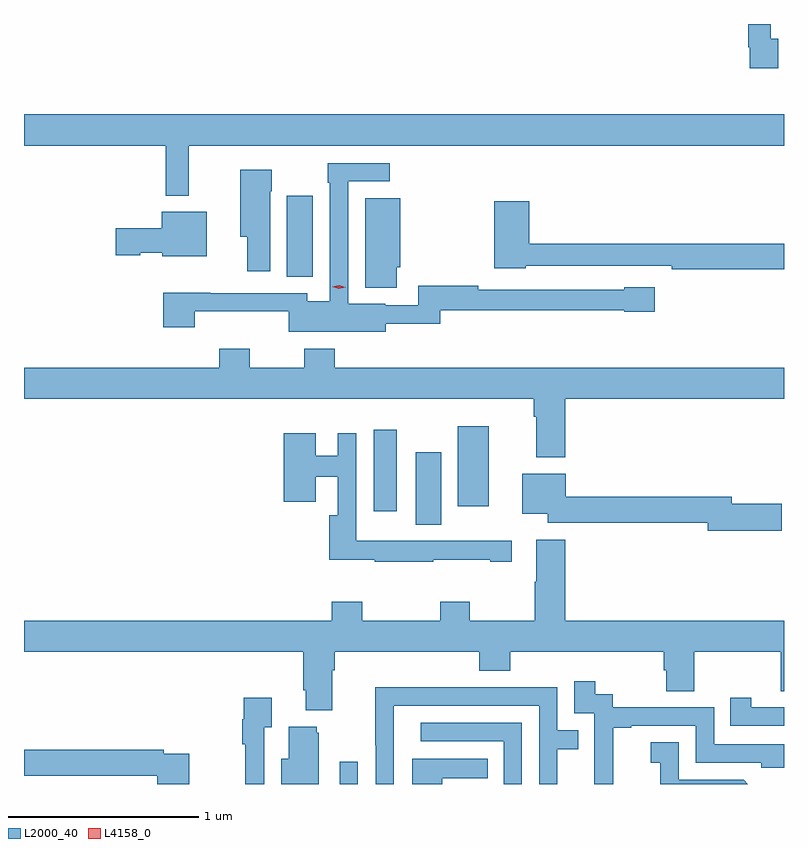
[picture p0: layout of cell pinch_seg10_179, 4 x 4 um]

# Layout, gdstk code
import gdstk
lib = gdstk.Library(unit=1e-6, precision=1e-09)
def R(c, l, rs):  # rectangles x0, y0, x1, y1
    for r in rs: c.add(gdstk.rectangle(r[:2], r[2:], *l))
def P(c, l, *ps):  # polygons
    for p in ps: c.add(gdstk.Polygon(p, *l))
L2000_40 = (2000, 40)
L4158_0 = (4158, 0)

pinch_seg10_179 = lib.new_cell('pinch_seg10_179')
R(pinch_seg10_179, L2000_40, [(698.871,1259.66,698.967,1259.776), (699.272,1261.024,699.406,1261.405), (699.05,1261.095,699.172,1261.525), (699.494,1261.122,699.655,1261.543), (698.594,1262.329,698.731,1262.755), (699.698,1263.658,700.087,1263.66)])
P(pinch_seg10_179, L2000_40, [(701.179,1263.582),(701.139,1263.582),(701.139,1263.66),(701.023,1263.66),(701.023,1263.538),(701.031,1263.538),(701.031,1263.426),(701.179,1263.426)],
  [(698.078,1263.02),(701.21,1263.02),(701.21,1263.184),(697.21,1263.184),(697.21,1263.02),(697.957,1263.02),(697.957,1262.757),(698.078,1262.757)],
  [(699.115,1262.083),(699.401,1262.083),(699.401,1262.154),(700.368,1262.154),(700.368,1262.146),(700.531,1262.146),(700.531,1262.275),(700.368,1262.275),(700.368,1262.262),(699.602,1262.262),(699.602,1262.282),(699.285,1262.282),(699.285,1262.181),(699.111,1262.181),(699.111,1262.188),(698.916,1262.188),(698.916,1262.832),(699.136,1262.832),(699.136,1262.928),(698.808,1262.928),(698.808,1262.825),(698.82,1262.825),(698.82,1262.2),(698.7,1262.2),(698.7,1262.244),(698.191,1262.244),(698.191,1262.246),(697.943,1262.246),(697.943,1262.064),(698.108,1262.064),(698.108,1262.147),(698.604,1262.147),(698.604,1262.039),(699.115,1262.039)],
  [(698.506,1262.78),(698.514,1262.78),(698.514,1262.893),(698.348,1262.893),(698.348,1262.54),(698.384,1262.54),(698.384,1262.358),(698.506,1262.358)],
  [(699.172,1262.379),(699.19,1262.379),(699.19,1262.743),(699.005,1262.743),(699.005,1262.273),(699.172,1262.273)],
  [(701.21,1262.504),(699.869,1262.504),(699.869,1262.728),(699.686,1262.728),(699.686,1262.375),(699.852,1262.375),(699.852,1262.388),(700.618,1262.388),(700.618,1262.368),(701.21,1262.368)],
  [(698.173,1262.671),(697.934,1262.671),(697.934,1262.586),(697.692,1262.586),(697.692,1262.444),(697.821,1262.444),(697.821,1262.456),(697.938,1262.456),(697.938,1262.438),(698.173,1262.438)],
  [(700.058,1261.688),(701.21,1261.688),(701.21,1261.852),(698.846,1261.852),(698.846,1261.951),(698.686,1261.951),(698.686,1261.852),(698.397,1261.852),(698.397,1261.951),(698.237,1261.951),(698.237,1261.852),(697.21,1261.852),(697.21,1261.688),(699.893,1261.688),(699.893,1261.592),(699.905,1261.592),(699.905,1261.379),(700.058,1261.379)],
  [(699.365,1260.841),(699.665,1260.841),(699.665,1260.831),(699.778,1260.831),(699.778,1260.941),(699.502,1260.941),(699.502,1260.939),(699.168,1260.939),(699.168,1260.94),(698.958,1260.94),(698.958,1261.507),(698.862,1261.507),(698.862,1261.387),(698.746,1261.387),(698.746,1261.507),(698.576,1261.507),(698.576,1261.146),(698.746,1261.146),(698.746,1261.277),(698.862,1261.277),(698.862,1261.075),(698.816,1261.075),(698.816,1260.841),(699.055,1260.841),(699.055,1260.831),(699.365,1260.831)],
  [(701.197,1261.136),(700.936,1261.136),(700.936,1261.172),(700.06,1261.172),(700.06,1261.294),(699.833,1261.294),(699.833,1261.082),(699.966,1261.082),(699.966,1261.036),(700.808,1261.036),(700.808,1260.994),(701.197,1260.994)],
  [(698.833,1260.26),(698.846,1260.26),(698.846,1260.356),(699.605,1260.356),(699.605,1260.257),(699.77,1260.257),(699.77,1260.356),(700.577,1260.356),(700.577,1260.258),(700.589,1260.258),(700.589,1260.148),(700.737,1260.148),(700.737,1260.356),(701.194,1260.356),(701.194,1260.148),(701.21,1260.148),(701.21,1260.52),(700.058,1260.52),(700.058,1260.946),(699.905,1260.946),(699.905,1260.725),(699.898,1260.725),(699.898,1260.52),(699.555,1260.52),(699.555,1260.619),(699.4,1260.619),(699.4,1260.52),(698.991,1260.52),(698.991,1260.619),(698.831,1260.619),(698.831,1260.52),(697.21,1260.52),(697.21,1260.356),(698.681,1260.356),(698.681,1260.154),(698.693,1260.154),(698.693,1260.047),(698.833,1260.047)],
  [(700.311,1259.671),(700.31,1259.671),(700.31,1259.955),(700.405,1259.955),(700.405,1259.967),(700.746,1259.967),(700.746,1259.772),(701.091,1259.772),(701.091,1259.745),(701.21,1259.745),(701.21,1259.868),(700.842,1259.868),(700.842,1260.063),(700.308,1260.063),(700.308,1260.132),(700.216,1260.132),(700.216,1260.202),(700.107,1260.202),(700.107,1260.033),(700.212,1260.033),(700.212,1259.804),(700.211,1259.804),(700.211,1259.66),(700.311,1259.66)],
  [(699.156,1259.818),(699.157,1259.818),(699.157,1260.072),(699.921,1260.072),(699.921,1259.66),(700.017,1259.66),(700.017,1259.842),(700.127,1259.842),(700.127,1259.943),(700.017,1259.943),(700.017,1260.168),(699.521,1260.168),(699.521,1260.17),(699.058,1260.17),(699.058,1259.863),(699.06,1259.863),(699.06,1259.66),(699.156,1259.66)],
  [(701.21,1260.063),(701.038,1260.063),(701.038,1260.115),(700.927,1260.115),(700.927,1259.967),(701.21,1259.967)],
  [(698.475,1259.959),(698.515,1259.959),(698.515,1260.115),(698.367,1260.115),(698.367,1260.002),(698.359,1260.002),(698.359,1259.87),(698.374,1259.87),(698.374,1259.66),(698.475,1259.66)],
  [(699.831,1259.982),(699.297,1259.982),(699.297,1259.886),(699.735,1259.886),(699.735,1259.66),(699.831,1259.66)],
  [(698.761,1259.931),(698.75,1259.931),(698.75,1259.962),(698.603,1259.962),(698.603,1259.794),(698.564,1259.794),(698.564,1259.66),(698.761,1259.66)],
  [(700.998,1259.682),(700.656,1259.682),(700.656,1259.881),(700.509,1259.881),(700.509,1259.771),(700.558,1259.771),(700.558,1259.66),(701.02,1259.66)],
  [(698.08,1259.82),(697.946,1259.82),(697.946,1259.84),(697.21,1259.84),(697.21,1259.704),(697.91,1259.704),(697.91,1259.66),(698.08,1259.66)],
  [(699.411,1259.69),(699.65,1259.69),(699.65,1259.794),(699.254,1259.794),(699.254,1259.66),(699.411,1259.66)])
P(pinch_seg10_179, L4158_0, [(698.867,1262.266),(698.833,1262.277),(698.833,1262.277),(698.833,1262.277),(698.868,1262.286),(698.902,1262.274),(698.903,1262.274),(698.902,1262.274)])

lib.write_gds('pinch_seg10_179.gds')
